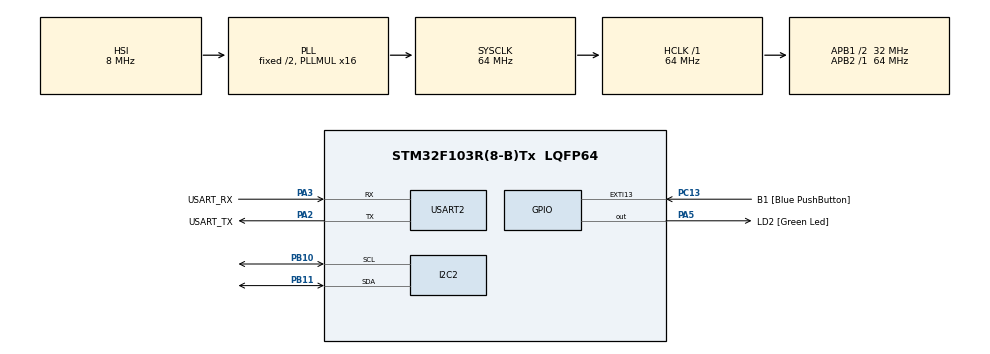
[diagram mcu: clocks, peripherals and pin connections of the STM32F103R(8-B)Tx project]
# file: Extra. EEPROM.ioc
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I2C2.I2C_Mode=I2C_Fast
Mcu.Family=STM32F1
Mcu.Name=STM32F103R(8-B)Tx
Mcu.Package=LQFP64
NVIC.EXTI15_10_IRQn=true\:0\:0\:false\:false\:true\:true\:true\:true
NVIC.PriorityGroup=NVIC_PRIORITYGROUP_4
PA13.GPIO_Label=TMS
PA13.Mode=Serial_Wire
PA13.Signal=SYS_JTMS-SWDIO
PA14.GPIO_Label=TCK
PA14.Mode=Serial_Wire
PA14.Signal=SYS_JTCK-SWCLK
PA2.GPIO_Label=USART_TX
PA2.GPIO_Mode=GPIO_MODE_AF_PP
PA2.GPIO_PuPd=GPIO_NOPULL
PA2.GPIO_Speed=GPIO_SPEED_FREQ_LOW
PA2.Mode=Asynchronous
PA2.Signal=USART2_TX
PA3.GPIO_Label=USART_RX
PA3.GPIO_Mode=GPIO_MODE_AF_PP
PA3.GPIO_PuPd=GPIO_NOPULL
PA3.GPIO_Speed=GPIO_SPEED_FREQ_LOW
PA3.Mode=Asynchronous
PA3.Signal=USART2_RX
PA5.GPIO_Label=LD2 [Green Led]
PA5.GPIO_ModeDefaultOutputPP=GPIO_MODE_OUTPUT_PP
PA5.GPIO_PuPd=GPIO_NOPULL
PA5.GPIO_Speed=GPIO_SPEED_FREQ_LOW
PA5.Signal=GPIO_Output
PB10.Mode=I2C
PB10.Signal=I2C2_SCL
PB11.Mode=I2C
PB11.Signal=I2C2_SDA
PB3.GPIO_Label=SWO
PB3.Signal=SYS_JTDO-TRACESWO
PC13-TAMPER-RTC.GPIO_Label=B1 [Blue PushButton]
PC13-TAMPER-RTC.GPIO_PuPd=GPIO_NOPULL
PC13-TAMPER-RTC.Signal=GPXTI13
ProjectManager.HeapSize=0x200
ProjectManager.StackSize=0x400
ProjectManager.TargetToolchain=STM32CubeIDE
RCC.AHBFreq_Value=64000000
RCC.APB1CLKDivider=RCC_HCLK_DIV2
RCC.APB1Freq_Value=32000000
RCC.APB1TimFreq_Value=64000000
RCC.APB2Freq_Value=64000000
RCC.APB2TimFreq_Value=64000000
RCC.HCLKFreq_Value=64000000
RCC.PLLMUL=RCC_PLL_MUL16
RCC.RTCClockSelection=RCC_RTCCLKSOURCE_LSE
RCC.SYSCLKFreq_VALUE=64000000
RCC.SYSCLKSource=RCC_SYSCLKSOURCE_PLLCLK
RCC.USBFreq_Value=64000000
USART2.VirtualMode=VM_ASYNC
board=NUCLEO-F103RB

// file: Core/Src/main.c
/* USER CODE BEGIN Header */
/**
  ******************************************************************************
  * @file           : main.c
  * @brief          : Main program body
  ******************************************************************************
  * @attention
  *
  * Copyright (c) 2025 STMicroelectronics.
  * All rights reserved.
  *
  * This software is licensed under terms that can be found in the LICENSE file
  * in the root directory of this software component.
  * If no LICENSE file comes with this software, it is provided AS-IS.
  *
  ******************************************************************************
  */
/* USER CODE END Header */
#include "main.h"

/* USER CODE BEGIN Includes */
#include <stdio.h>
#include <string.h>
#include "at24c/at24c.h"
/* USER CODE END Includes */

I2C_HandleTypeDef hi2c2;

UART_HandleTypeDef huart2;

void SystemClock_Config(void);
static void MX_GPIO_Init(void);
static void MX_USART2_UART_Init(void);
static void MX_I2C2_Init(void);

/* USER CODE BEGIN 0 */
#ifdef __GNUC__
#define PUTCHAR_PROTOTYPE int __io_putchar(int ch)
#else
#define PUTCHAR_PROTOTYPE int fput(int ch, FILE *f)
#endif

PUTCHAR_PROTOTYPE
{
	if(ch == '\n')
		HAL_UART_Transmit(&huart2, (uint8_t *) "\r", 1, 0xFFFF);
	HAL_UART_Transmit(&huart2, (uint8_t *) &ch, 1, 0xFFFF);

	return ch;
}
/* USER CODE END 0 */

int main(void)
{

  /* MCU Configuration--------------------------------------------------------*/

  /* Reset of all peripherals, Initializes the Flash interface and the Systick. */
  HAL_Init();

  /* Configure the system clock */
  SystemClock_Config();

  /* Initialize all configured peripherals */
  MX_GPIO_Init();
  MX_USART2_UART_Init();
  MX_I2C2_Init();
  /* USER CODE BEGIN 2 */
  printf("Build Time: %s\n", __TIMESTAMP__);

  uint8_t address = 0x00;		//8bit Address
  uint8_t addr_head = 0x0 << 1;	//3bit Address

  printf("Address 0x%X%02X\n", addr_head >> 1, address);

//  uint8_t data[] = {2, 3, 5, 7, 11, 13, 17, 19};
//  if (AT24C_Write(&hi2c2, addr_head, address, data, sizeof(data)) != HAL_OK)
//	  printf("Write Error\n\n");

  uint8_t i, buffer[64];

  if (AT24C_Read(&hi2c2, addr_head, address, buffer, sizeof(buffer)) != HAL_OK)
	  printf("Read Error\n");
  else
  {
	  for (i = 0; i < sizeof(buffer); i++)
	    {
	  	  printf("%X ",buffer[i]);
	  	  if ((i+1)%16 == 0)
	  		  printf("\n");
	    }
	    printf("\n");
  }

  /* USER CODE END 2 */

  /* Infinite loop */
  while (1)
  {

  }
}

void SystemClock_Config(void)
{
  RCC_OscInitTypeDef RCC_OscInitStruct = {0};
  RCC_ClkInitTypeDef RCC_ClkInitStruct = {0};

  /** Initializes the RCC Oscillators according to the specified parameters
  * in the RCC_OscInitTypeDef structure.
  */
  RCC_OscInitStruct.OscillatorType = RCC_OSCILLATORTYPE_HSI;
  RCC_OscInitStruct.HSIState = RCC_HSI_ON;
  RCC_OscInitStruct.HSICalibrationValue = RCC_HSICALIBRATION_DEFAULT;
  RCC_OscInitStruct.PLL.PLLState = RCC_PLL_ON;
  RCC_OscInitStruct.PLL.PLLSource = RCC_PLLSOURCE_HSI_DIV2;
  RCC_OscInitStruct.PLL.PLLMUL = RCC_PLL_MUL16;
  if (HAL_RCC_OscConfig(&RCC_OscInitStruct) != HAL_OK)
  {
    Error_Handler();
  }

  /** Initializes the CPU, AHB and APB buses clocks
  */
  RCC_ClkInitStruct.ClockType = RCC_CLOCKTYPE_HCLK|RCC_CLOCKTYPE_SYSCLK
                              |RCC_CLOCKTYPE_PCLK1|RCC_CLOCKTYPE_PCLK2;
  RCC_ClkInitStruct.SYSCLKSource = RCC_SYSCLKSOURCE_PLLCLK;
  RCC_ClkInitStruct.AHBCLKDivider = RCC_SYSCLK_DIV1;
  RCC_ClkInitStruct.APB1CLKDivider = RCC_HCLK_DIV2;
  RCC_ClkInitStruct.APB2CLKDivider = RCC_HCLK_DIV1;

  if (HAL_RCC_ClockConfig(&RCC_ClkInitStruct, FLASH_LATENCY_2) != HAL_OK)
  {
    Error_Handler();
  }
}

static void MX_I2C2_Init(void)
{

  hi2c2.Instance = I2C2;
  hi2c2.Init.ClockSpeed = 400000;
  hi2c2.Init.DutyCycle = I2C_DUTYCYCLE_2;
  hi2c2.Init.OwnAddress1 = 0;
  hi2c2.Init.AddressingMode = I2C_ADDRESSINGMODE_7BIT;
  hi2c2.Init.DualAddressMode = I2C_DUALADDRESS_DISABLE;
  hi2c2.Init.OwnAddress2 = 0;
  hi2c2.Init.GeneralCallMode = I2C_GENERALCALL_DISABLE;
  hi2c2.Init.NoStretchMode = I2C_NOSTRETCH_DISABLE;
  if (HAL_I2C_Init(&hi2c2) != HAL_OK)
  {
    Error_Handler();
  }

}

static void MX_USART2_UART_Init(void)
{

  huart2.Instance = USART2;
  huart2.Init.BaudRate = 115200;
  huart2.Init.WordLength = UART_WORDLENGTH_8B;
  huart2.Init.StopBits = UART_STOPBITS_1;
  huart2.Init.Parity = UART_PARITY_NONE;
  huart2.Init.Mode = UART_MODE_TX_RX;
  huart2.Init.HwFlowCtl = UART_HWCONTROL_NONE;
  huart2.Init.OverSampling = UART_OVERSAMPLING_16;
  if (HAL_UART_Init(&huart2) != HAL_OK)
  {
    Error_Handler();
  }

}

static void MX_GPIO_Init(void)
{
  GPIO_InitTypeDef GPIO_InitStruct = {0};

  /* GPIO Ports Clock Enable */
  __HAL_RCC_GPIOC_CLK_ENABLE();
  __HAL_RCC_GPIOA_CLK_ENABLE();
  __HAL_RCC_GPIOB_CLK_ENABLE();

  /*Configure GPIO pin Output Level */
  HAL_GPIO_WritePin(LD2_GPIO_Port, LD2_Pin, GPIO_PIN_RESET);

  /*Configure GPIO pin : B1_Pin */
  GPIO_InitStruct.Pin = B1_Pin;
  GPIO_InitStruct.Mode = GPIO_MODE_IT_RISING;
  GPIO_InitStruct.Pull = GPIO_NOPULL;
  HAL_GPIO_Init(B1_GPIO_Port, &GPIO_InitStruct);

  /*Configure GPIO pin : LD2_Pin */
  GPIO_InitStruct.Pin = LD2_Pin;
  GPIO_InitStruct.Mode = GPIO_MODE_OUTPUT_PP;
  GPIO_InitStruct.Pull = GPIO_NOPULL;
  GPIO_InitStruct.Speed = GPIO_SPEED_FREQ_LOW;
  HAL_GPIO_Init(LD2_GPIO_Port, &GPIO_InitStruct);

  /* EXTI interrupt init*/
  HAL_NVIC_SetPriority(EXTI15_10_IRQn, 0, 0);
  HAL_NVIC_EnableIRQ(EXTI15_10_IRQn);

}

void Error_Handler(void)
{
  __disable_irq();
  while (1)
  {
  }
}
